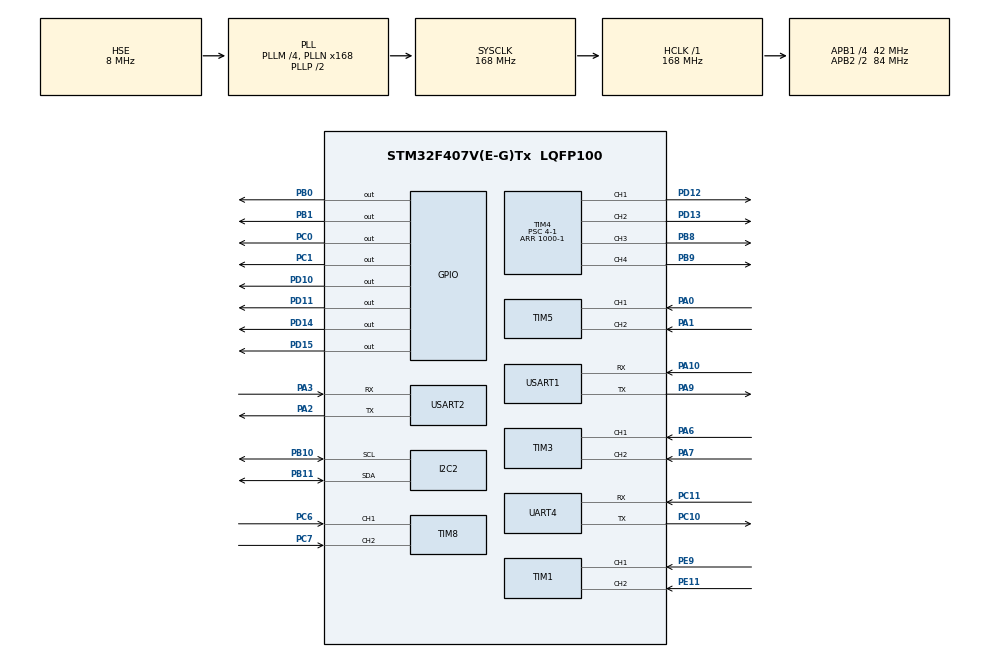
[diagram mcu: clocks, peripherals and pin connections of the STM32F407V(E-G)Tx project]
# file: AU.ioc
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Dma.Request0=UART4_RX
Dma.UART4_RX.0.Direction=DMA_PERIPH_TO_MEMORY
Dma.UART4_RX.0.FIFOMode=DMA_FIFOMODE_DISABLE
Dma.UART4_RX.0.Instance=DMA1_Stream2
Dma.UART4_RX.0.MemDataAlignment=DMA_MDATAALIGN_BYTE
Dma.UART4_RX.0.MemInc=DMA_MINC_ENABLE
Dma.UART4_RX.0.Mode=DMA_NORMAL
Dma.UART4_RX.0.PeriphDataAlignment=DMA_PDATAALIGN_BYTE
Dma.UART4_RX.0.PeriphInc=DMA_PINC_DISABLE
Dma.UART4_RX.0.Priority=DMA_PRIORITY_LOW
Mcu.Family=STM32F4
Mcu.Name=STM32F407V(E-G)Tx
Mcu.Package=LQFP100
NVIC.DMA1_Stream2_IRQn=true\:0\:0\:false\:false\:true\:false\:true\:true
NVIC.PriorityGroup=NVIC_PRIORITYGROUP_4
NVIC.UART4_IRQn=true\:13\:0\:true\:false\:true\:true\:true\:true
NVIC.USART1_IRQn=true\:12\:0\:true\:false\:true\:true\:true\:true
NVIC.USART2_IRQn=true\:11\:0\:true\:false\:true\:true\:true\:true
PA0-WKUP.Signal=S_TIM5_CH1
PA1.Signal=S_TIM5_CH2
PA10.Mode=Asynchronous
PA10.Signal=USART1_RX
PA13.Mode=Serial_Wire
PA13.Signal=SYS_JTMS-SWDIO
PA14.Mode=Serial_Wire
PA14.Signal=SYS_JTCK-SWCLK
PA2.Mode=Asynchronous
PA2.Signal=USART2_TX
PA3.Mode=Asynchronous
PA3.Signal=USART2_RX
PA6.Signal=S_TIM3_CH1
PA7.Signal=S_TIM3_CH2
PA9.Mode=Asynchronous
PA9.Signal=USART1_TX
PB0.Signal=GPIO_Output
PB1.Signal=GPIO_Output
PB10.Mode=I2C
PB10.Signal=I2C2_SCL
PB11.Mode=I2C
PB11.Signal=I2C2_SDA
PB8.Signal=S_TIM4_CH3
PB9.Signal=S_TIM4_CH4
PC0.Signal=GPIO_Output
PC1.Signal=GPIO_Output
PC10.Mode=Asynchronous
PC10.Signal=UART4_TX
PC11.Mode=Asynchronous
PC11.Signal=UART4_RX
PC6.Signal=S_TIM8_CH1
PC7.Signal=S_TIM8_CH2
PD10.Signal=GPIO_Output
PD11.Signal=GPIO_Output
PD12.Signal=S_TIM4_CH1
PD13.Signal=S_TIM4_CH2
PD14.Signal=GPIO_Output
PD15.Signal=GPIO_Output
PE11.Signal=S_TIM1_CH2
PE9.Signal=S_TIM1_CH1
PH0-OSC_IN.Mode=HSE-External-Oscillator
PH0-OSC_IN.Signal=RCC_OSC_IN
PH1-OSC_OUT.Mode=HSE-External-Oscillator
PH1-OSC_OUT.Signal=RCC_OSC_OUT
ProjectManager.HeapSize=0x200
ProjectManager.StackSize=0x400
ProjectManager.TargetToolchain=CMake
RCC.48MHZClocksFreq_Value=84000000
RCC.AHBFreq_Value=168000000
RCC.APB1CLKDivider=RCC_HCLK_DIV4
RCC.APB1Freq_Value=42000000
RCC.APB1TimFreq_Value=84000000
RCC.APB2CLKDivider=RCC_HCLK_DIV2
RCC.APB2Freq_Value=84000000
RCC.APB2TimFreq_Value=168000000
RCC.CortexFreq_Value=168000000
RCC.EnbaleCSS=true
RCC.HCLKFreq_Value=168000000
RCC.HSE_VALUE=8000000
RCC.HSI_VALUE=16000000
RCC.LSE_VALUE=32768
RCC.PLLM=4
RCC.PLLN=168
RCC.PLLSourceVirtual=RCC_PLLSOURCE_HSE
RCC.SYSCLKFreq_VALUE=168000000
RCC.SYSCLKSource=RCC_SYSCLKSOURCE_PLLCLK
RCC.VCOOutputFreq_Value=336000000
SH.S_TIM1_CH1.0=TIM1_CH1,Encoder_Interface
SH.S_TIM1_CH2.0=TIM1_CH2,Encoder_Interface
SH.S_TIM3_CH1.0=TIM3_CH1,Encoder_Interface
SH.S_TIM3_CH2.0=TIM3_CH2,Encoder_Interface
SH.S_TIM4_CH1.0=TIM4_CH1,PWM Generation1 CH1
SH.S_TIM4_CH2.0=TIM4_CH2,PWM Generation2 CH2
SH.S_TIM4_CH3.0=TIM4_CH3,PWM Generation3 CH3
SH.S_TIM4_CH4.0=TIM4_CH4,PWM Generation4 CH4
SH.S_TIM5_CH1.0=TIM5_CH1,Encoder_Interface
SH.S_TIM5_CH2.0=TIM5_CH2,Encoder_Interface
SH.S_TIM8_CH1.0=TIM8_CH1,Encoder_Interface
SH.S_TIM8_CH2.0=TIM8_CH2,Encoder_Interface
TIM1.EncoderMode=TIM_ENCODERMODE_TI12
TIM1.IC1Filter=15
TIM1.IC2Filter=15
TIM3.EncoderMode=TIM_ENCODERMODE_TI12
TIM3.IC1Filter=15
TIM3.IC2Filter=15
TIM4.AutoReloadPreload=TIM_AUTORELOAD_PRELOAD_ENABLE
TIM4.Channel-PWM\ Generation1\ CH1=TIM_CHANNEL_1
TIM4.Channel-PWM\ Generation2\ CH2=TIM_CHANNEL_2
TIM4.Channel-PWM\ Generation3\ CH3=TIM_CHANNEL_3
TIM4.Channel-PWM\ Generation4\ CH4=TIM_CHANNEL_4
TIM4.Period=1000-1
TIM4.Prescaler=4-1
TIM5.EncoderMode=TIM_ENCODERMODE_TI12
TIM5.IC1Filter=15
TIM5.IC2Filter=15
TIM8.EncoderMode=TIM_ENCODERMODE_TI12
TIM8.IC1Filter=15
TIM8.IC2Filter=15
UART4.VirtualMode=Asynchronous
USART1.VirtualMode=VM_ASYNC
USART2.VirtualMode=VM_ASYNC
board=custom

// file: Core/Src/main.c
/* USER CODE BEGIN Header */
/**
  ******************************************************************************
  * @file           : main.c
  * @brief          : Main program body
  ******************************************************************************
  * @attention
  *
  * Copyright (c) 2026 STMicroelectronics.
  * All rights reserved.
  *
  * This software is licensed under terms that can be found in the LICENSE file
  * in the root directory of this software component.
  * If no LICENSE file comes with this software, it is provided AS-IS.
  *
  ******************************************************************************
  */
/* USER CODE END Header */
#include "main.h"
#include "dma.h"
#include "i2c.h"
#include "stm32f4xx_hal.h"
#include "tim.h"
#include "usart.h"
#include "gpio.h"

/* USER CODE BEGIN Includes */
#include "oled.h"
#include "font.h"
#include "Motor.h"
#include "Camera.h"
#include "Bluetooth.h"
#include <stdbool.h>
#include <stdint.h>
#include "host.h"
/* USER CODE END Includes */

/* USER CODE BEGIN PD */
#define ONE_GRID_M 0.31f
#define QUARTER_DEGREE 133.5f
#define ONE_CIRCLE 525
/* USER CODE END PD */

/* USER CODE BEGIN PV */
Motor_t FL, FR, RL, RR;
Car_t car;
char cmd[1] ={  '1'};
char stop[1] = {'0'};
char check[] ="Received";
// extern SetPID_t PID_Params;
/* USER CODE END PV */

void SystemClock_Config(void);

/* USER CODE BEGIN 0 */
int _write(int file, char *ptr, int len)
{
    HAL_UART_Transmit(&BLUETOOTH_UART_HANDLE, (uint8_t *)ptr, len, HAL_MAX_DELAY);
    return len;
}
/* USER CODE END 0 */

int main(void)
{

  /* MCU Configuration--------------------------------------------------------*/

  /* Reset of all peripherals, Initializes the Flash interface and the Systick. */
  HAL_Init();

  /* Configure the system clock */
  SystemClock_Config();

  /* Initialize all configured peripherals */
  MX_GPIO_Init();
  MX_DMA_Init();
  MX_I2C2_Init();
  MX_TIM3_Init();
  MX_TIM4_Init();
  MX_USART2_UART_Init();
  MX_TIM1_Init();
  MX_TIM5_Init();
  MX_TIM8_Init();
  MX_UART4_Init();
  MX_USART1_UART_Init();
  /* USER CODE BEGIN 2 */
  //电机初始化
  Motor_WheelInit(&FL, &FL_TIM_HANDLE, FL_TIM_CHANNEL, FL_IN_PORT, FL_IN_PIN1, FL_IN_PIN2, &FL_ENCODER_TIM, WHEEL_DIAMETER_M, ENCODER_PPR, ENCODER_GEAR_RATIO);
  Motor_WheelInit(&FR, &FR_TIM_HANDLE, FR_TIM_CHANNEL, FR_IN_PORT, FR_IN_PIN1, FR_IN_PIN2, &FR_ENCODER_TIM, WHEEL_DIAMETER_M, ENCODER_PPR, ENCODER_GEAR_RATIO);
  Motor_WheelInit(&RL, &RL_TIM_HANDLE, RL_TIM_CHANNEL, RL_IN_PORT, RL_IN_PIN1, RL_IN_PIN2, &RL_ENCODER_TIM, WHEEL_DIAMETER_M, ENCODER_PPR, ENCODER_GEAR_RATIO);
  Motor_WheelInit(&RR, &RR_TIM_HANDLE, RR_TIM_CHANNEL, RR_IN_PORT, RR_IN_PIN1, RR_IN_PIN2, &RR_ENCODER_TIM, WHEEL_DIAMETER_M, ENCODER_PPR, ENCODER_GEAR_RATIO);
  Motor_SetDirectionInverted(&FL, true);
  Motor_SetDirectionInverted(&RL, true);
  Motor_SetDirectionInverted(&RR, true);
  Car_Init(&car, &FL, &FR, &RL, &RR, TRACK_WIDTH_M);
  //OLED初始化
  HAL_Delay(20);
  OLED_Init();
  //摄像头初始化
  CAMERA_Init();
  //蓝牙初始化
  BLUETOOTH_Init();
  //主机通信初始化
  Host_Init();

  Motor_PIDInit(&FL,4.71f, 2.94f, 2.67f, PID_OUTPUT_LIMIT);
  Motor_PIDInit(&RL,4.71f, 2.94f, 2.67f, PID_OUTPUT_LIMIT);
  Motor_PIDInit(&FR, 4.71f, 2.94f, 2.67f, PID_OUTPUT_LIMIT);
  Motor_PIDInit(&RR,4.71f, 2.94f, 2.67f, PID_OUTPUT_LIMIT);

  // Car_DriveDistance(&car, CAR_DIR_FORWARD, 0.30f);
  // Car_RotateAngle(&car, CAR_DIR_CCW, 95);
  // Car_DriveDistance(&car, CAR_DIR_FORWARD, 0.90f);
  // Car_DriveDistance(&car, CAR_DIR_BACKWARD, 0.01f);

  /* USER CODE END 2 */

  /* Infinite loop */
  /* USER CODE BEGIN WHILE */
  while (1)
  {
    // Motor_ControlWheel(&FL, 0.50f);
    // Motor_ControlWheel(&FR, 0.50f);
    // Motor_ControlWheel(&RL, 0.50f);
    // Motor_ControlWheel(&RR, 0.50f);
    // printf("para:%.2f,%.2f,%.2f,%.2f\r\n", FL.speed_m_s, FR.speed_m_s, RL.speed_m_s, RR.speed_m_s);
    // printf("para: %.2f,%.2f,%d,%.2f,%.2f\r\n", 0.50f,RR.speed_m_s,(int)RR.invert_direction,RR.pwm_duty,RR.pid.integral);
    // Motor_PIDSetParams(&RR, PID_Params.Kp, PID_Params.Ki, PID_Params.Kd);

    switch (car_state) {

    /* ---- IDLE: 等待任务启动 ---- */
    case CAR_IDLE:
      if (Back_permission) {
        car_state = CAR_MOVING;
      }
      break;

    /* ---- WAITING_CAMERA: 等待摄像头回复 ---- */
    case CAR_WAITING_CAMERA:
      if (Move_permission) {
        car_state = CAR_MOVING;
      } else if (Back_permission) {
        car_state = CAR_MOVING;
      } else if ((HAL_GetTick() - wait_start_tick) > 5000) {
        /* 超时：重发指令，进入恢复 */
        car_state = CAR_RECOVERY;
      }
      break;

    /* ---- RECOVERY: 超时恢复微移 ---- */
    case CAR_RECOVERY:
      Car_DriveDistance(&car, CAR_DIR_FORWARD, 0.10f);
      HAL_Delay(500);
      Car_DriveDistance(&car, CAR_DIR_BACKWARD, 0.10f);
      /* 微移期间摄像头可能已回数据，检查后决定去向 */
      if (Move_permission) {
        Show_permission = false;
        Revolve_permission = false;
        car_state = CAR_MOVING;
      } else {
        wait_start_tick = HAL_GetTick();
        car_state = CAR_WAITING_CAMERA;
      }
      break;

    /* ---- MOVING: 执行移动 + 穿插 R/G 显示 ---- */
    case CAR_MOVING:
      if (Back_permission) {
        /* 回退路径 */
        switch (Steps[Step_Index].direction) {
          case 1://直行回退
            Car_DriveDistance(&car, CAR_DIR_FORWARD, Steps[Step_Index].steps * ONE_GRID_M);
            break;
          case 2://左转回退（原路右转）
            Car_DriveDistance(&car, CAR_DIR_FORWARD, Steps[Step_Index].steps * ONE_GRID_M);
            Car_RotateAngle(&car, CAR_DIR_CCW, QUARTER_DEGREE);
            break;
          case 3://右转回退（原路左转）
            Car_DriveDistance(&car, CAR_DIR_FORWARD, Steps[Step_Index].steps * ONE_GRID_M);
            Car_RotateAngle(&car, CAR_DIR_CW, QUARTER_DEGREE);
            break;
          default: break;
        }
        if (Step_Index == 0) {
          Back_permission = false;
        }
        Step_Index--;
        car_state = CAR_IDLE;
      }
      else if (Move_permission) {
        /* 正常前进路径：根据摄像头指令移动 */
        switch (Steps[Step_Index].direction) {
          case 1: { // 直行
            Car_DriveDistance(&car, CAR_DIR_FORWARD, ONE_GRID_M);
            for (int i = 0; i < Steps[Step_Index].steps - 1; i++) {
              Car_DriveDistance(&car, CAR_DIR_FORWARD, ONE_GRID_M);
            }
            Step_Index++;
            HAL_UART_Transmit(&CAMERA_UART_HANDLE, (uint8_t*)&cmd, sizeof(cmd), HAL_MAX_DELAY);
            break;
          }
          case 2: { // 右转
            Car_DriveDistance(&car, CAR_DIR_FORWARD, ONE_GRID_M);
            Car_RotateAngle(&car, CAR_DIR_CW, QUARTER_DEGREE);
            for (int i = 0; i < Steps[Step_Index].steps - 1; i++) {
              Car_DriveDistance(&car, CAR_DIR_FORWARD, ONE_GRID_M);
            }
            Step_Index++;
            HAL_UART_Transmit(&CAMERA_UART_HANDLE, (uint8_t*)&cmd, sizeof(cmd), HAL_MAX_DELAY);
            break;
          }
          case 3: { // 左转
            Car_DriveDistance(&car, CAR_DIR_FORWARD, ONE_GRID_M);
            Car_RotateAngle(&car, CAR_DIR_CCW, QUARTER_DEGREE);
            for (int i = 0; i < Steps[Step_Index].steps - 1; i++) {
              Car_DriveDistance(&car, CAR_DIR_FORWARD, ONE_GRID_M);
            }
            Step_Index++;
            HAL_UART_Transmit(&CAMERA_UART_HANDLE, (uint8_t*)&cmd, sizeof(cmd), HAL_MAX_DELAY);
            break;
          }
          case 4:{//后退
            Car_DriveDistance(&car, CAR_DIR_BACKWARD, Steps[Step_Index].steps * ONE_GRID_M);
            HAL_UART_Transmit(&CAMERA_UART_HANDLE, (uint8_t*)&cmd, sizeof(cmd), HAL_MAX_DELAY);
            Step_Index++;
            break;
          }
          case 5: { // 到达终点
            Car_DriveDistance(&car, CAR_DIR_FORWARD, ONE_GRID_M);
            Step_Index--;
            break;
          }
          case 0: { // 无效方向：微移重试
            HAL_UART_Transmit(&CAMERA_UART_HANDLE, (uint8_t*)&cmd, sizeof(cmd), HAL_MAX_DELAY);
            Car_DriveDistance(&car, CAR_DIR_BACKWARD, 0.10f);
            Car_DriveDistance(&car, CAR_DIR_FORWARD, 0.10f);
            break;
          }
          default: break;
        }
        Move_permission = false;
        /* 发 '1' 请求下一帧，切回等待 */
        HAL_UART_Transmit(&CAMERA_UART_HANDLE, (uint8_t*)&cmd, sizeof(cmd), HAL_MAX_DELAY);
        wait_start_tick = HAL_GetTick();
        car_state = CAR_WAITING_CAMERA;
      }
      case CAR_STA:
      if (Show_permission) {
        OLED_NewFrame();
        if (Camera_Data.str_index == '0') {
          OLED_PrintString(1, 1, "动物", &font16x16, OLED_COLOR_NORMAL);
        } else if (Camera_Data.str_index == '1') {
          OLED_PrintString(1, 1, "人类", &font16x16, OLED_COLOR_NORMAL);
        } else if (Camera_Data.str_index == '2') {
          OLED_PrintString(1, 1, "水果", &font16x16, OLED_COLOR_NORMAL);
        } else {
          OLED_PrintString(1, 1, "数据有误", &font16x16, OLED_COLOR_NORMAL);
        }
        OLED_ShowFrame();
        Show_permission = false;
        car_state = CAR_IDLE;
        break;
      }
      else if (Revolve_permission) {
        for (int i = 0; i < Camera_Data.value; i++) {
          Car_RotateAngle(&car, CAR_DIR_CCW, ONE_CIRCLE);
          HAL_Delay(100);
        }
        Revolve_permission = false;
        car_state = CAR_IDLE;
        break;
      }

    default:
      break;
    }

    /* USER CODE END WHILE */

  }
}

void SystemClock_Config(void)
{
  RCC_OscInitTypeDef RCC_OscInitStruct = {0};
  RCC_ClkInitTypeDef RCC_ClkInitStruct = {0};

  /** Configure the main internal regulator output voltage
  */
  __HAL_RCC_PWR_CLK_ENABLE();
  __HAL_PWR_VOLTAGESCALING_CONFIG(PWR_REGULATOR_VOLTAGE_SCALE1);

  /** Initializes the RCC Oscillators according to the specified parameters
  * in the RCC_OscInitTypeDef structure.
  */
  RCC_OscInitStruct.OscillatorType = RCC_OSCILLATORTYPE_HSE;
  RCC_OscInitStruct.HSEState = RCC_HSE_ON;
  RCC_OscInitStruct.PLL.PLLState = RCC_PLL_ON;
  RCC_OscInitStruct.PLL.PLLSource = RCC_PLLSOURCE_HSE;
  RCC_OscInitStruct.PLL.PLLM = 4;
  RCC_OscInitStruct.PLL.PLLN = 168;
  RCC_OscInitStruct.PLL.PLLP = RCC_PLLP_DIV2;
  RCC_OscInitStruct.PLL.PLLQ = 4;
  if (HAL_RCC_OscConfig(&RCC_OscInitStruct) != HAL_OK)
  {
    Error_Handler();
  }

  /** Initializes the CPU, AHB and APB buses clocks
  */
  RCC_ClkInitStruct.ClockType = RCC_CLOCKTYPE_HCLK|RCC_CLOCKTYPE_SYSCLK
                              |RCC_CLOCKTYPE_PCLK1|RCC_CLOCKTYPE_PCLK2;
  RCC_ClkInitStruct.SYSCLKSource = RCC_SYSCLKSOURCE_PLLCLK;
  RCC_ClkInitStruct.AHBCLKDivider = RCC_SYSCLK_DIV1;
  RCC_ClkInitStruct.APB1CLKDivider = RCC_HCLK_DIV4;
  RCC_ClkInitStruct.APB2CLKDivider = RCC_HCLK_DIV2;

  if (HAL_RCC_ClockConfig(&RCC_ClkInitStruct, FLASH_LATENCY_5) != HAL_OK)
  {
    Error_Handler();
  }

  /** Enables the Clock Security System
  */
  HAL_RCC_EnableCSS();
}

/* USER CODE BEGIN 4 */

void HAL_UART_RxCpltCallback(UART_HandleTypeDef *huart){

  if (huart == &BLUETOOTH_UART_HANDLE) {
    if (Bluetooth_Rx_Buffer[0] == 'M') {
      is_running = true;
      car_state = CAR_WAITING_CAMERA;
      wait_start_tick = HAL_GetTick();
      HAL_UART_Transmit_IT(&CAMERA_UART_HANDLE, (uint8_t*)&cmd, sizeof(cmd));
      HAL_UART_Transmit_IT(&BLUETOOTH_UART_HANDLE, (uint8_t*)check, sizeof(check));
    }
    else if (Bluetooth_Rx_Buffer[0] == 'D'){
      car_state = CAR_STA;
      HAL_UART_Transmit_IT(&CAMERA_UART_HANDLE, (uint8_t*)&cmd, sizeof(cmd));
      HAL_UART_Transmit_IT(&BLUETOOTH_UART_HANDLE, (uint8_t*)check, sizeof(check));

    }
    else if (Bluetooth_Rx_Buffer[0] == 'B') {
      Back_permission = true;
      HAL_UART_Transmit_IT(&BLUETOOTH_UART_HANDLE, (uint8_t*)check, sizeof(check));
    }
    else if(Bluetooth_Rx_Buffer[0] == 'S') {
      HAL_UART_Transmit_IT(&CAMERA_UART_HANDLE, (uint8_t*)&stop, sizeof(stop));
      HAL_UART_Transmit_IT(&BLUETOOTH_UART_HANDLE, (uint8_t*)check, sizeof(check));
    }
    HAL_UART_Receive_IT(&BLUETOOTH_UART_HANDLE, Bluetooth_Rx_Buffer, sizeof(Bluetooth_Rx_Buffer));
  }

  else if (huart == &CAMERA_UART_HANDLE) {
    CAMERA_UART_Receive_Process(cam_rx_byte);
    HAL_UART_Receive_IT(&CAMERA_UART_HANDLE, &cam_rx_byte, 1);
  }

  else if(huart == &HOST_UART_HANDLE) {
    Host_dataparser(Host_Rx_byte);
    HAL_UART_Receive_IT(&HOST_UART_HANDLE, &Host_Rx_byte, 1);
  }
}

/* USER CODE END 4 */

void Error_Handler(void)
{
  __disable_irq();
  while (1)
  {
  }
}
